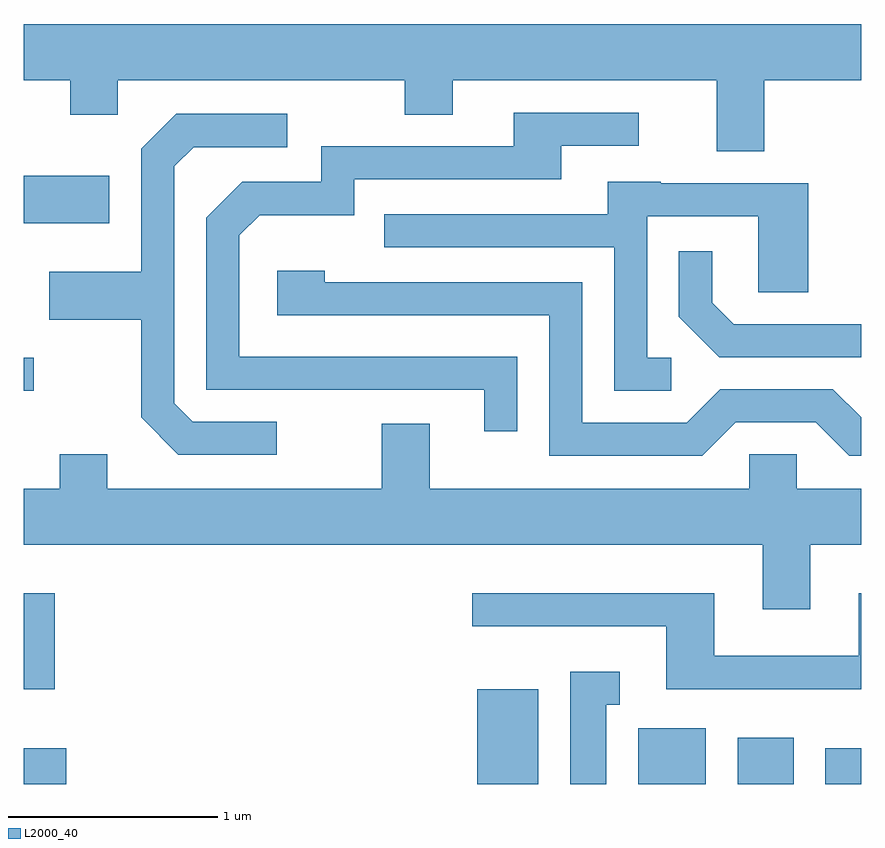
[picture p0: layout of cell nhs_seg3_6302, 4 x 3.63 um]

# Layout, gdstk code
import gdstk
lib = gdstk.Library(unit=1e-6, precision=1e-09)
def R(c, l, rs):  # rectangles x0, y0, x1, y1
    for r in rs: c.add(gdstk.rectangle(r[:2], r[2:], *l))
def P(c, l, *ps):  # polygons
    for p in ps: c.add(gdstk.Polygon(p, *l))
L2000_40 = (2000, 40)

nhs_seg3_6302 = lib.new_cell('nhs_seg3_6302')
R(nhs_seg3_6302, L2000_40, [(369.611,1215.892,369.814,1216.064), (371.776,1215.892,372.069,1216.344), (372.546,1215.892,372.869,1216.159), (373.021,1215.892,373.289,1216.114), (373.441,1215.892,373.611,1216.064), (369.611,1216.346,369.759,1216.804), (369.611,1217.771,369.658,1217.929), (369.611,1218.571,370.019,1218.799)])
P(nhs_seg3_6302, L2000_40, [(373.149,1219.256),(373.611,1219.256),(373.611,1219.524),(369.611,1219.524),(369.611,1219.256),(369.831,1219.256),(369.831,1219.091),(370.059,1219.091),(370.059,1219.256),(371.431,1219.256),(371.431,1219.091),(371.659,1219.091),(371.659,1219.256),(372.921,1219.256),(372.921,1218.916),(373.149,1218.916)],
  [(371.969,1217.934),(370.639,1217.934),(370.639,1218.514),(370.737,1218.611),(371.189,1218.611),(371.189,1218.781),(372.179,1218.781),(372.179,1218.941),(372.548,1218.941),(372.548,1219.099),(371.951,1219.099),(371.951,1218.939),(371.031,1218.939),(371.031,1218.769),(370.654,1218.769),(370.481,1218.597),(370.481,1217.776),(371.811,1217.776),(371.811,1217.578),(371.969,1217.578)],
  [(370.818,1217.624),(370.417,1217.624),(370.329,1217.712),(370.329,1218.844),(370.422,1218.936),(370.868,1218.936),(370.868,1219.094),(370.339,1219.094),(370.171,1218.927),(370.171,1218.339),(369.731,1218.339),(369.731,1218.111),(370.171,1218.111),(370.171,1217.644),(370.349,1217.466),(370.818,1217.466)],
  [(372.703,1217.929),(372.589,1217.929),(372.589,1218.606),(373.121,1218.606),(373.121,1218.241),(373.359,1218.241),(373.359,1218.764),(372.655,1218.764),(372.655,1218.769),(372.401,1218.769),(372.401,1218.614),(371.333,1218.614),(371.333,1218.456),(372.431,1218.456),(372.431,1217.771),(372.703,1217.771)],
  [(373.611,1218.089),(373.002,1218.089),(372.899,1218.192),(372.899,1218.438),(372.741,1218.438),(372.741,1218.124),(372.934,1217.931),(373.611,1217.931)],
  [(373.012,1217.621),(373.394,1217.621),(373.554,1217.461),(373.611,1217.461),(373.611,1217.645),(373.477,1217.779),(372.939,1217.779),(372.779,1217.619),(372.279,1217.619),(372.279,1218.289),(371.049,1218.289),(371.049,1218.344),(370.821,1218.344),(370.821,1218.131),(372.121,1218.131),(372.121,1217.461),(372.852,1217.461)],
  [(373.076,1217.469),(373.076,1217.304),(371.549,1217.304),(371.549,1217.614),(371.321,1217.614),(371.321,1217.304),(370.009,1217.304),(370.009,1217.469),(369.781,1217.469),(369.781,1217.304),(369.611,1217.304),(369.611,1217.036),(373.141,1217.036),(373.141,1216.726),(373.369,1216.726),(373.369,1217.036),(373.611,1217.036),(373.611,1217.304),(373.304,1217.304),(373.304,1217.469)],
  [(373.611,1216.804),(373.601,1216.804),(373.601,1216.504),(372.909,1216.504),(372.909,1216.804),(371.753,1216.804),(371.753,1216.646),(372.681,1216.646),(372.681,1216.346),(373.611,1216.346)],
  [(372.394,1216.271),(372.458,1216.271),(372.458,1216.429),(372.221,1216.429),(372.221,1215.892),(372.394,1215.892)])

lib.write_gds('nhs_seg3_6302.gds')
